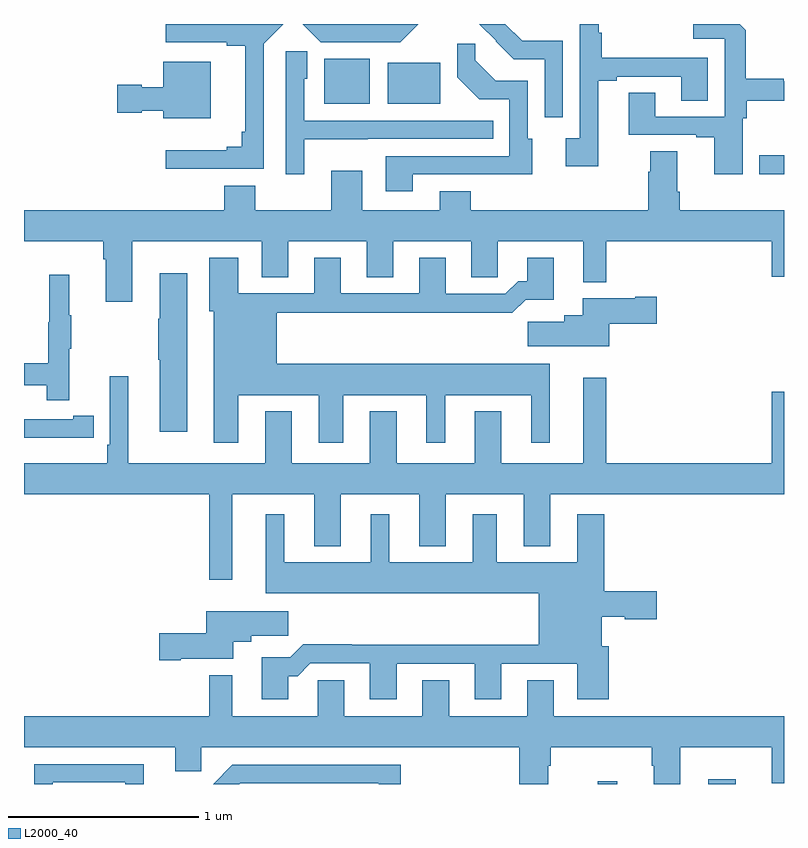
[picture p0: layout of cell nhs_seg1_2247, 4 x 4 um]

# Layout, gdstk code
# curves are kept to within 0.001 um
import gdstk
lib = gdstk.Library(unit=1e-6, precision=1e-09)
def R(c, l, rs):  # rectangles x0, y0, x1, y1
    for r in rs: c.add(gdstk.rectangle(r[:2], r[2:], *l))
def P(c, l, *ps):  # polygons
    for p in ps: c.add(gdstk.Polygon(p, *l))
L2000_40 = (2000, 40)

nhs_seg1_2247 = lib.new_cell('nhs_seg1_2247')
R(nhs_seg1_2247, L2000_40, [(236.02,558.199,236.123,558.214), (236.6,558.199,236.746,558.223), (236.871,561.407,237,561.509), (234.581,561.779,234.82,562.015), (234.914,561.779,235.192,561.994)])
P(nhs_seg1_2247, L2000_40, [(236.023,561.901),(236.119,561.901),(236.119,561.921),(236.459,561.921),(236.459,561.796),(236.599,561.796),(236.599,562.022),(236.042,562.022),(236.042,562.154),(236.024,562.154),(236.024,562.199),(235.926,562.199),(235.926,561.598),(235.851,561.598),(235.851,561.45),(236.023,561.45)],
  [(236.784,561.704),(236.804,561.704),(236.804,561.796),(237,561.796),(237,561.897),(236.999,561.91),(236.799,561.91),(236.799,562.167),(236.767,562.199),(236.523,562.199),(236.523,562.122),(236.688,562.122),(236.688,561.711),(236.323,561.711),(236.323,561.836),(236.183,561.836),(236.183,561.615),(236.537,561.615),(236.537,561.603),(236.633,561.603),(236.633,561.408),(236.784,561.408)],
  [(235.836,562.11),(235.623,562.11),(235.534,562.199),(235.396,562.199),(235.485,562.11),(235.483,562.108),(235.577,562.014),(235.74,562.014),(235.74,561.708),(235.836,561.708)],
  [(235.076,562.199),(234.466,562.199),(234.561,562.104),(234.981,562.104)],
  [(233.957,561.438),(234.261,561.438),(234.261,562.095),(234.365,562.199),(233.745,562.199),(233.745,562.104),(234.068,562.104),(234.068,562.084),(234.164,562.084),(234.164,561.631),(234.145,561.631),(234.145,561.554),(234.068,561.554),(234.068,561.535),(233.745,561.535),(233.745,561.437)],
  [(235.045,561.408),(235.675,561.407),(235.675,561.594),(235.65,561.594),(235.65,561.9),(235.484,561.9),(235.376,562.008),(235.376,562.096),(235.281,562.096),(235.281,561.92),(235.397,561.804),(235.554,561.804),(235.554,561.504),(234.905,561.504),(234.905,561.318),(235.045,561.318)],
  [(234.475,561.593),(234.809,561.593),(234.809,561.594),(235.469,561.594),(235.469,561.69),(234.474,561.69),(234.474,561.912),(234.49,561.912),(234.49,562.055),(234.378,562.055),(234.378,561.408),(234.475,561.408)],
  [(233.983,562),(233.732,562),(233.732,561.865),(233.619,561.865),(233.619,561.878),(233.49,561.878),(233.49,561.731),(233.619,561.731),(233.619,561.743),(233.732,561.743),(233.732,561.704),(233.983,561.704)],
  [(233.569,561.056),(234.251,561.056),(234.251,560.866),(234.391,560.866),(234.391,561.056),(234.803,561.056),(234.803,560.866),(234.943,560.866),(234.943,561.056),(235.355,561.056),(235.355,560.866),(235.494,560.866),(235.494,561.056),(235.943,561.056),(235.943,560.84),(236.065,560.84),(236.065,561.056),(236.936,561.056),(236.936,560.868),(237,560.868),(237,561.22),(236.45,561.22),(236.45,561.316),(236.437,561.316),(236.437,561.53),(236.297,561.53),(236.297,561.422),(236.285,561.422),(236.285,561.22),(235.351,561.22),(235.351,561.319),(235.187,561.319),(235.187,561.22),(234.781,561.22),(234.781,561.427),(234.617,561.427),(234.617,561.22),(234.217,561.22),(234.217,561.349),(234.053,561.349),(234.053,561.22),(233,561.22),(233,561.056),(233.417,561.056),(233.417,560.96),(233.429,560.96),(233.429,560.736),(233.569,560.736)],
  [(234.127,560.246),(234.551,560.246),(234.551,559.995),(234.679,559.995),(234.679,560.246),(235.118,560.246),(235.118,559.995),(235.216,559.995),(235.216,560.246),(235.67,560.246),(235.67,559.995),(235.768,559.995),(235.768,560.41),(234.331,560.41),(234.331,560.68),(235.315,560.68),(235.315,560.678),(235.571,560.678),(235.64,560.747),(235.789,560.747),(235.789,560.968),(235.649,560.968),(235.649,560.845),(235.6,560.845),(235.533,560.778),(235.219,560.778),(235.219,560.968),(235.079,560.968),(235.079,560.781),(234.667,560.781),(234.667,560.968),(234.527,560.968),(234.527,560.781),(234.127,560.781),(234.127,560.968),(233.975,560.968),(233.975,560.688),(233.999,560.688),(233.999,559.995),(234.127,559.995)],
  [(233.86,560.887),(233.714,560.887),(233.714,560.648),(233.707,560.648),(233.707,560.431),(233.714,560.431),(233.714,560.052),(233.86,560.052)],
  [(233.237,560.491),(233.248,560.491),(233.248,560.665),(233.237,560.665),(233.237,560.878),(233.134,560.878),(233.134,560.628),(233.127,560.628),(233.127,560.414),(233,560.414),(233,560.298),(233.119,560.298),(233.119,560.22),(233.237,560.22)],
  [(236.08,560.621),(236.329,560.621),(236.329,560.763),(236.216,560.763),(236.216,560.755),(235.94,560.755),(235.94,560.665),(235.844,560.665),(235.844,560.633),(235.65,560.633),(235.65,560.504),(236.08,560.504)],
  [(235.631,559.451),(235.771,559.451),(235.771,559.724),(237,559.724),(237,560.263),(236.936,560.263),(236.936,559.888),(236.065,559.888),(236.065,560.338),(235.943,560.338),(235.943,559.888),(235.513,559.888),(235.513,560.161),(235.373,560.161),(235.373,559.888),(234.961,559.888),(234.961,560.161),(234.821,560.161),(234.821,559.888),(234.409,559.888),(234.409,560.161),(234.269,560.161),(234.269,559.888),(233.548,559.888),(233.548,560.344),(233.451,560.344),(233.451,559.984),(233.438,559.984),(233.438,559.888),(233,559.888),(233,559.724),(233.976,559.724),(233.976,559.275),(234.097,559.275),(234.097,559.724),(234.527,559.724),(234.527,559.451),(234.667,559.451),(234.667,559.724),(235.079,559.724),(235.079,559.451),(235.219,559.451),(235.219,559.724),(235.631,559.724)],
  [(233.258,560.022),(233.366,560.022),(233.366,560.138),(233.258,560.138),(233.258,560.118),(233,560.118),(233,560.021),(233.258,560.021)],
  [(234.391,558.767),(234.44,558.767),(234.507,558.834),(234.821,558.834),(234.821,558.645),(234.961,558.645),(234.961,558.831),(235.373,558.831),(235.373,558.645),(235.513,558.645),(235.513,558.831),(235.913,558.831),(235.913,558.645),(236.078,558.645),(236.078,558.924),(236.041,558.924),(236.041,559.079),(236.161,559.079),(236.161,559.067),(236.329,559.067),(236.329,559.214),(236.054,559.214),(236.054,559.618),(235.913,559.618),(235.913,559.366),(235.489,559.366),(235.489,559.618),(235.361,559.618),(235.361,559.366),(234.922,559.366),(234.922,559.618),(234.824,559.618),(234.824,559.366),(234.37,559.366),(234.37,559.618),(234.272,559.618),(234.272,559.202),(235.709,559.202),(235.709,558.932),(234.725,558.932),(234.725,558.935),(234.47,558.935),(234.4,558.865),(234.251,558.865),(234.251,558.645),(234.391,558.645)],
  [(233.824,558.857),(234.1,558.857),(234.1,558.947),(234.196,558.947),(234.196,558.979),(234.391,558.979),(234.391,559.108),(233.96,559.108),(233.96,558.992),(233.712,558.992),(233.712,558.85),(233.824,558.85)],
  [(235.759,558.296),(235.772,558.296),(235.772,558.392),(236.303,558.392),(236.303,558.296),(236.315,558.296),(236.315,558.199),(236.455,558.199),(236.455,558.392),(236.936,558.392),(236.936,558.204),(237,558.204),(237,558.556),(235.789,558.556),(235.789,558.746),(235.649,558.746),(235.649,558.556),(235.237,558.556),(235.237,558.746),(235.097,558.746),(235.097,558.556),(234.685,558.556),(234.685,558.746),(234.546,558.746),(234.546,558.556),(234.097,558.556),(234.097,558.772),(233.976,558.772),(233.976,558.556),(233,558.556),(233,558.392),(233.795,558.392),(233.795,558.265),(233.934,558.265),(233.934,558.392),(235.607,558.392),(235.607,558.199),(235.759,558.199)],
  [(233.151,558.207),(233.532,558.207),(233.532,558.199),(233.629,558.199),(233.629,558.303),(233.055,558.303),(233.055,558.199),(233.151,558.199)],
  [(234.138,558.204),(234.867,558.204),(234.867,558.199),(234.983,558.199),(234.983,558.3),(234.096,558.3),(233.995,558.199),(234.133,558.199)])

lib.write_gds('nhs_seg1_2247.gds')
